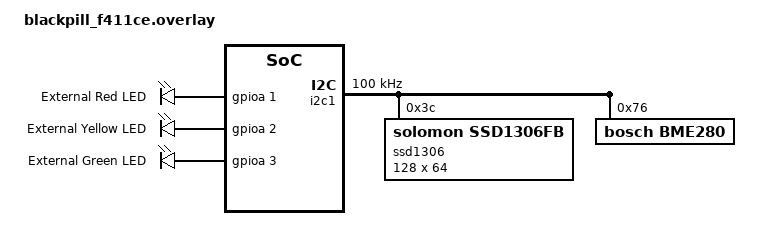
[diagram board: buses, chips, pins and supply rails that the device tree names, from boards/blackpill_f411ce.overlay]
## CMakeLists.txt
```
cmake_minimum_required(VERSION 3.15.0)

find_package(Zephyr REQUIRED HINTS $ENV{ZEPHYR_BASE})

project(blackpill_led)

target_sources(app PRIVATE src/main.c)
```

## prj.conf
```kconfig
CONFIG_GPIO=y
CONFIG_STDOUT_CONSOLE=y
CONFIG_LOG=y
CONFIG_I2C=y
CONFIG_SENSOR=y
CONFIG_BME280=y
CONFIG_DISPLAY=y
CONFIG_SSD1306=y
CONFIG_SSD1306_DEFAULT_CONTRAST=128
# CONFIG_FONT_8x16=y
CONFIG_CHARACTER_FRAMEBUFFER=y
CONFIG_HEAP_MEM_POOL_SIZE=4096
CONFIG_DYNAMIC_OBJECTS=y
CONFIG_NEWLIB_LIBC=y
CONFIG_NEWLIB_LIBC_FLOAT_PRINTF=y
# CONFIG_BOOTLOADER_MCUBOOT=y
```

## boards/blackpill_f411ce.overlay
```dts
/{
    aliases {
        led1 = &external_led0;
        led2 = &external_led1;
        led3 = &external_led2;
    };

    leds {
        compatible = "gpio-leds";
        external_led0: led_1 {
            gpios = <&gpioa 1 GPIO_ACTIVE_HIGH>;
			label = "External Red LED";
        };
        external_led1: led_2 {
            gpios = <&gpioa 2 GPIO_ACTIVE_HIGH>;
			label = "External Yellow LED";
        };
        external_led2: led_3 {
            gpios = <&gpioa 3 GPIO_ACTIVE_HIGH>;
			label = "External Green LED";
        };
    };
};

&i2c1 {
    status = "okay";

    clock-frequency = <I2C_BITRATE_STANDARD>;

    ssd1306: ssd1306@3c {
        compatible = "solomon,ssd1306fb";
        reg = <0x3c>;
        width = <128>;
        height = <64>;
        segment-offset = <0>;
        page-offset = <0>;
        display-offset = <0>;
        multiplex-ratio = <63>;
        segment-remap;
        com-invdir;
        prechargep = <0x22>;
    };
    
    bme280: bme280@76 {
        compatible = "bosch,bme280";
        reg = <0x76>;
        label = "BME280";
    };
};
```

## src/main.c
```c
#include <stdio.h>
#include <zephyr/kernel.h>
#include <zephyr/device.h>
#include <zephyr/devicetree.h>
#include <zephyr/drivers/gpio.h>

#include <zephyr/drivers/sensor.h>
#include <zephyr/drivers/i2c.h>
#include <zephyr/sys/printk.h>

#include <zephyr/drivers/display.h>
#include <zephyr/display/cfb.h>
#include <string.h>

/* 1000 msec = 1 sec, 500 = 0.5 sec */
#define SLEEP_TIME_MS   1000

#define ONBOARD_LED_NODE    DT_ALIAS(led0)

#define EXTERNAL_RED_LED_NODE       DT_ALIAS(led1)
#define EXTERNAL_YELLOW_LED_NODE    DT_ALIAS(led2)
#define EXTERNAL_GREEN_LED_NODE     DT_ALIAS(led3)

#define ONBOARD_BUTTON_NODE DT_ALIAS(sw0)

static const struct gpio_dt_spec led = GPIO_DT_SPEC_GET(ONBOARD_LED_NODE, gpios);

static const struct gpio_dt_spec ext_red_led    = GPIO_DT_SPEC_GET(EXTERNAL_RED_LED_NODE, gpios);
static const struct gpio_dt_spec ext_yellow_led = GPIO_DT_SPEC_GET(EXTERNAL_YELLOW_LED_NODE, gpios);
static const struct gpio_dt_spec ext_green_led  = GPIO_DT_SPEC_GET(EXTERNAL_GREEN_LED_NODE, gpios);

static const struct gpio_dt_spec onboard_button = GPIO_DT_SPEC_GET_OR(
    ONBOARD_BUTTON_NODE,
    gpios,
    {0});

static struct gpio_callback button_cb_data;

// static struct device *bme280 = DEVICE_DT_GET(DT_NODELABEL(bme280));

static const struct device *sensor_dev = DEVICE_DT_GET(DT_NODELABEL(bme280));

#define I2C_OLED_DISPLAY    DT_NODELABEL(ssd1306)

static const struct device *oled_display_dev = DEVICE_DT_GET(I2C_OLED_DISPLAY);

void button_pressed(
    const struct device *dev,
    struct gpio_callback *cb,
    uint32_t pins)
{
    // we need to debounce the button switch interrupt signal
    printf("CB INT: Button pressed at %" PRIu32 "\n", k_cycle_get_32());
}

int main(void)
{
    // sleep 3 seconds to give time for catching the printed message
    k_sleep(K_SECONDS(3));
    printf("\n\n\n");
    int ret_value = 0;
    int ret = 0;
    uint32_t counter = 0;
    bool onboard_led_state = true;
    struct sensor_value temp, pressure, humidity;
    char display_buf[32] = {0};

    printf("Blackpill firmware is running!\n");

    if (!device_is_ready(DEVICE_DT_GET(DT_NODELABEL(i2c1))))
    {
        printf("I2C is not ready\n");
        return 0;
    }
    else
    {
        printf("I2C is ready\n");
    }

    if (!gpio_is_ready_dt(&led))
    {
        return 0;
    }

    if ((!gpio_is_ready_dt(&ext_red_led)) &&
        (!gpio_is_ready_dt(&ext_yellow_led)) &&
        (!gpio_is_ready_dt(&ext_green_led)) &&
        (!gpio_is_ready_dt(&onboard_button))
    )
    {
        return 0;
    }

    if (!device_is_ready(sensor_dev))
    {
        printf("BME280 device is not ready\n");
        return 0;
    }

    if (!device_is_ready(oled_display_dev))
    {
        printf("SSD1306 device is not ready\n");
        return 0;
    }

    if (cfb_framebuffer_init(oled_display_dev) < 0)
    {
        printf("Framebuffer initialization failed\n");
        return 0;
    }

    ret_value = gpio_pin_configure_dt(&led, GPIO_OUTPUT_ACTIVE);

    if (ret_value < 0)
    {
        return 0;
    }

    ret_value = gpio_pin_configure_dt(&ext_red_led, GPIO_OUTPUT_ACTIVE);

    if (ret_value < 0)
    {
        return 0;
    }

    ret_value = gpio_pin_configure_dt(&ext_yellow_led, GPIO_OUTPUT_ACTIVE);

    if (ret_value < 0)
    {
        return 0;
    }

    ret_value = gpio_pin_configure_dt(&ext_green_led, GPIO_OUTPUT_ACTIVE);

    if (ret_value < 0)
    {
        return 0;
    }

    ret_value = gpio_pin_configure_dt(&onboard_button, GPIO_INPUT);

    if (ret_value < 0)
    {
        return 0;
    }

    // we enable gpio interrupts
	ret_value = gpio_pin_interrupt_configure_dt(&onboard_button,
        GPIO_INT_EDGE_TO_ACTIVE);

    if (ret_value != 0)
    {
        printf("Error %d: failed to configure interrupt on %s pin %d\n",
            ret_value,
            onboard_button.port->name,
            onboard_button.pin);

        return 0;
    }

    gpio_init_callback(&button_cb_data, button_pressed, BIT(onboard_button.pin));
    gpio_add_callback(onboard_button.port, &button_cb_data);

    printf("Set up button at %s pin %d\n", onboard_button.port->name, onboard_button.pin);

    printf("BME280 device is ready\n");

    // Clear the display
    display_blanking_off(oled_display_dev);
    cfb_framebuffer_clear(oled_display_dev, true);

    // set font (8x16 is included by default)
    cfb_framebuffer_set_font(oled_display_dev, 0);

    while (true)
    {
        switch (counter)
        {
            case 0:
                // gpio_pin_toggle_dt(&ext_red_led);
                gpio_pin_set_dt(&ext_red_led, 1);
                gpio_pin_set_dt(&ext_yellow_led, 0);
                gpio_pin_set_dt(&ext_green_led, 0);
                counter = 1;
                break;
            case 1:
                // gpio_pin_toggle_dt(&ext_yellow_led);
                gpio_pin_set_dt(&ext_red_led, 0);
                gpio_pin_set_dt(&ext_yellow_led, 1);
                gpio_pin_set_dt(&ext_green_led, 0);
                counter = 2;
                break;
            case 2:
                // gpio_pin_toggle_dt(&ext_green_led);
                gpio_pin_set_dt(&ext_red_led, 0);
                gpio_pin_set_dt(&ext_yellow_led, 0);
                gpio_pin_set_dt(&ext_green_led, 1);
                counter = 0;
                break;
            default:
                counter = 1;
                break;
        }

        ret_value = gpio_pin_toggle_dt(&led);

        if (ret_value < 0)
        {
            return 0;
        }
        onboard_led_state = !onboard_led_state;

        // printk("k LED state %d: %s\n", counter, onboard_led_state ? "ON" : "OFF");
        printf("LED state: %s\n", onboard_led_state ? "ON" : "OFF");

        // onboard button polling example
        // if (gpio_pin_get_dt(&onboard_button))
        // {
        //     printf("Button is pressed\n");
        // }

        // k_msleep(SLEEP_TIME_MS);

        sensor_sample_fetch(sensor_dev);

        sensor_channel_get(sensor_dev, SENSOR_CHAN_AMBIENT_TEMP, &temp);
        sensor_channel_get(sensor_dev, SENSOR_CHAN_PRESS, &pressure);
        sensor_channel_get(sensor_dev, SENSOR_CHAN_HUMIDITY, &humidity);

        printf("Temperature: %.2f °C\n", sensor_value_to_double(&temp));
        // printf("Temperature: %d.%06d °C\n", temp.val1, temp.val1);
        printf("Pressure: %.2f kPa\n", sensor_value_to_double(&pressure) / 1000);
        printf("Humidity: %.2f %%\n", sensor_value_to_double(&humidity));

        snprintf(display_buf, sizeof(display_buf), "T: %.2f C", sensor_value_to_double(&temp));
        // display_print(oled_display_dev, 0, 0, display_buf);
        cfb_print(oled_display_dev, display_buf, 10, 10);

        snprintf(display_buf, sizeof(display_buf), "P: %.2f kPa", sensor_value_to_double(&pressure) / 1000);
        // display_print(oled_display_dev, 0, 16, display_buf);
        cfb_print(oled_display_dev, display_buf, 10, 30);

        snprintf(display_buf, sizeof(display_buf), "H: %.2f %%", sensor_value_to_double(&humidity));
        // display_print(oled_display_dev, 0, 32, display_buf);
        cfb_print(oled_display_dev, display_buf, 10, 50);

        cfb_framebuffer_finalize(oled_display_dev);

        k_sleep(K_MSEC(SLEEP_TIME_MS));
    }

    return 0;
}
 
```
